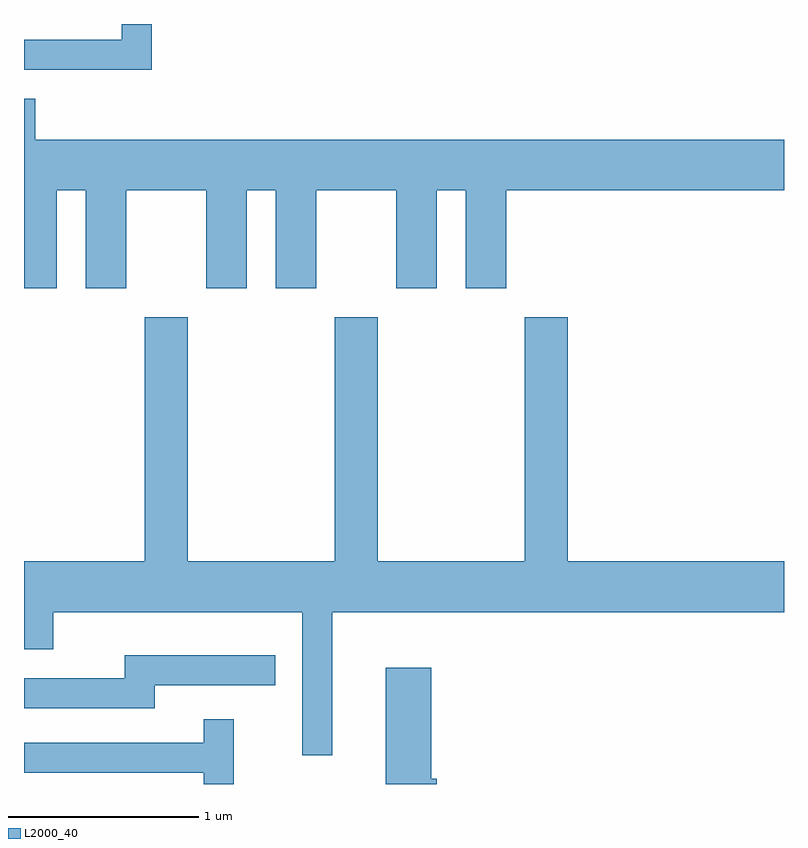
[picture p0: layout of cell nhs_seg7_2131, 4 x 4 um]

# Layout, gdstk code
import gdstk
lib = gdstk.Library(unit=1e-6, precision=1e-09)
def P(c, l, *ps):  # polygons
    for p in ps: c.add(gdstk.Polygon(p, *l))
L2000_40 = (2000, 40)

nhs_seg7_2131 = lib.new_cell('nhs_seg7_2131')
P(nhs_seg7_2131, L2000_40, [(250.284,1766.252),(250.126,1766.252),(250.126,1766.169),(249.611,1766.169),(249.611,1766.011),(250.284,1766.011)],
  [(249.784,1765.376),(249.936,1765.376),(249.936,1764.861),(250.149,1764.861),(250.149,1765.376),(250.571,1765.376),(250.571,1764.861),(250.784,1764.861),(250.784,1765.376),(250.936,1765.376),(250.936,1764.861),(251.149,1764.861),(251.149,1765.376),(251.571,1765.376),(251.571,1764.861),(251.784,1764.861),(251.784,1765.376),(251.936,1765.376),(251.936,1764.861),(252.149,1764.861),(252.149,1765.376),(253.611,1765.376),(253.611,1765.644),(249.669,1765.644),(249.669,1765.859),(249.611,1765.859),(249.611,1764.861),(249.784,1764.861)],
  [(251.234,1763.156),(253.611,1763.156),(253.611,1763.424),(252.474,1763.424),(252.474,1764.709),(252.246,1764.709),(252.246,1763.424),(251.474,1763.424),(251.474,1764.709),(251.246,1764.709),(251.246,1763.424),(250.474,1763.424),(250.474,1764.709),(250.246,1764.709),(250.246,1763.424),(249.611,1763.424),(249.611,1762.961),(249.764,1762.961),(249.764,1763.156),(251.076,1763.156),(251.076,1762.403),(251.234,1762.403)],
  [(250.299,1762.771),(250.933,1762.771),(250.933,1762.929),(250.141,1762.929),(250.141,1762.809),(249.611,1762.809),(249.611,1762.651),(250.299,1762.651)],
  [(251.784,1762.279),(251.754,1762.279),(251.754,1762.864),(251.516,1762.864),(251.516,1762.252),(251.784,1762.252)],
  [(250.714,1762.593),(250.556,1762.593),(250.556,1762.469),(249.611,1762.469),(249.611,1762.311),(250.556,1762.311),(250.556,1762.252),(250.714,1762.252)])

lib.write_gds('nhs_seg7_2131.gds')
